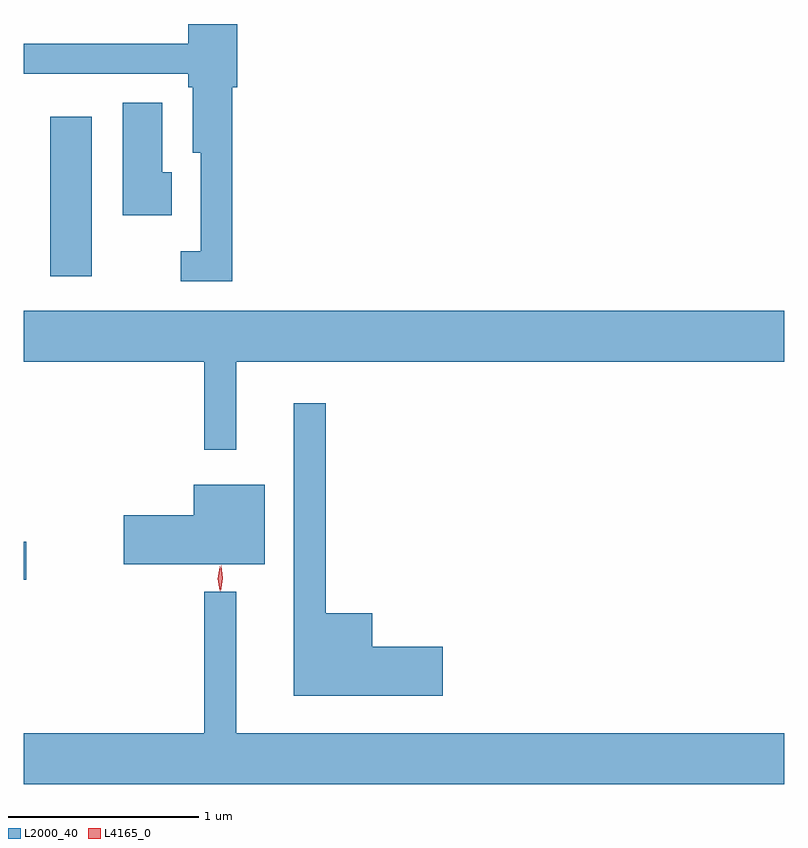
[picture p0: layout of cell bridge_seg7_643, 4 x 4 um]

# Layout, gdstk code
import gdstk
lib = gdstk.Library(unit=1e-6, precision=1e-09)
def R(c, l, rs):  # rectangles x0, y0, x1, y1
    for r in rs: c.add(gdstk.rectangle(r[:2], r[2:], *l))
def P(c, l, *ps):  # polygons
    for p in ps: c.add(gdstk.Polygon(p, *l))
L2000_40 = (2000, 40)
L4165_0 = (4165, 0)

bridge_seg7_643 = lib.new_cell('bridge_seg7_643')
R(bridge_seg7_643, L2000_40, [(922.951,1719.831,922.964,1720.029), (923.091,1721.426,923.309,1722.264)])
P(bridge_seg7_643, L2000_40, [(924.049,1722.421),(924.074,1722.421),(924.074,1722.753),(923.816,1722.753),(923.816,1722.649),(922.951,1722.649),(922.951,1722.491),(923.816,1722.491),(923.816,1722.421),(923.841,1722.421),(923.841,1722.076),(923.881,1722.076),(923.881,1721.559),(923.778,1721.559),(923.778,1721.401),(924.049,1721.401)],
  [(923.729,1721.974),(923.679,1721.974),(923.679,1722.339),(923.471,1722.339),(923.471,1721.746),(923.729,1721.746)],
  [(924.069,1720.976),(926.951,1720.976),(926.951,1721.244),(922.951,1721.244),(922.951,1720.976),(923.901,1720.976),(923.901,1720.513),(924.069,1720.513)],
  [(925.154,1719.479),(924.784,1719.479),(924.784,1719.654),(924.539,1719.654),(924.539,1720.758),(924.371,1720.758),(924.371,1719.221),(925.154,1719.221)],
  [(924.219,1720.329),(923.846,1720.329),(923.846,1720.169),(923.476,1720.169),(923.476,1719.911),(924.219,1719.911)],
  [(926.951,1719.024),(924.069,1719.024),(924.069,1719.768),(923.901,1719.768),(923.901,1719.024),(922.951,1719.024),(922.951,1718.756),(926.951,1718.756)])
P(bridge_seg7_643, L4165_0, [(923.987,1719.77),(923.978,1719.838),(923.989,1719.905),(923.989,1719.906),(923.99,1719.905),(923.998,1719.838),(923.988,1719.77),(923.988,1719.77)],
  [(923.982,1719.773),(923.982,1719.773),(923.972,1719.836),(923.982,1719.899),(923.982,1719.9),(923.983,1719.899),(923.992,1719.836),(923.983,1719.773)])

lib.write_gds('bridge_seg7_643.gds')
